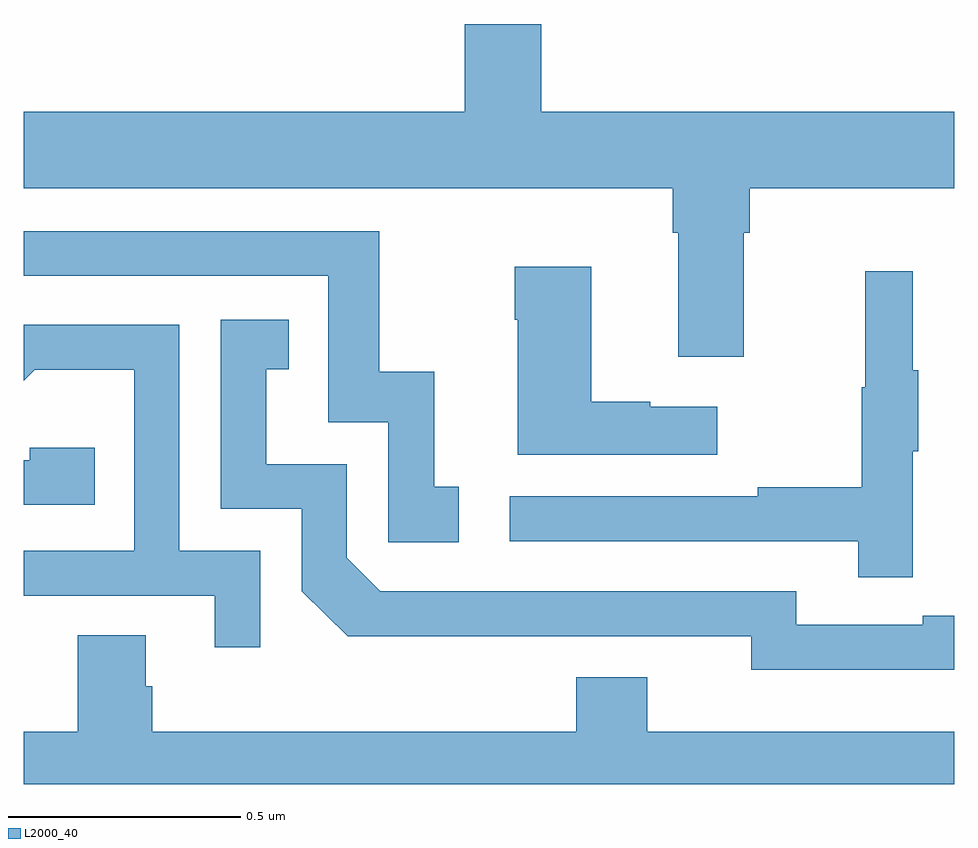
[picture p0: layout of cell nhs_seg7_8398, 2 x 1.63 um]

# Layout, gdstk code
import gdstk
lib = gdstk.Library(unit=1e-6, precision=1e-09)
def P(c, l, *ps):  # polygons
    for p in ps: c.add(gdstk.Polygon(p, *l))
L2000_40 = (2000, 40)

nhs_seg7_8398 = lib.new_cell('nhs_seg7_8398')
P(nhs_seg7_8398, L2000_40, [(225.547,1003.184),(225.56,1003.184),(225.56,1003.28),(226,1003.28),(226,1003.444),(225.112,1003.444),(225.112,1003.633),(224.948,1003.633),(224.948,1003.444),(224,1003.444),(224,1003.28),(225.395,1003.28),(225.395,1003.184),(225.407,1003.184),(225.407,1002.918),(225.547,1002.918)],
  [(224.935,1002.639),(224.882,1002.639),(224.882,1002.886),(224.764,1002.886),(224.764,1003.188),(224,1003.188),(224,1003.092),(224.655,1003.092),(224.655,1002.777),(224.784,1002.777),(224.784,1002.519),(224.935,1002.519)],
  [(225.49,1002.811),(225.347,1002.811),(225.347,1002.821),(225.22,1002.821),(225.22,1003.111),(225.055,1003.111),(225.055,1002.998),(225.062,1002.998),(225.062,1002.707),(225.49,1002.707)],
  [(225.911,1002.715),(225.922,1002.715),(225.922,1002.889),(225.911,1002.889),(225.911,1003.102),(225.808,1003.102),(225.808,1002.852),(225.801,1002.852),(225.801,1002.638),(225.577,1002.638),(225.577,1002.618),(225.045,1002.618),(225.045,1002.522),(225.793,1002.522),(225.793,1002.444),(225.911,1002.444)],
  [(225.932,1002.246),(226,1002.246),(226,1002.362),(225.932,1002.362),(225.932,1002.342),(225.66,1002.342),(225.66,1002.414),(224.766,1002.414),(224.694,1002.486),(224.694,1002.687),(224.521,1002.687),(224.521,1002.891),(224.57,1002.891),(224.57,1002.997),(224.424,1002.997),(224.424,1002.591),(224.598,1002.591),(224.598,1002.414),(224.696,1002.317),(225.104,1002.317),(225.104,1002.318),(225.564,1002.318),(225.564,1002.245),(225.932,1002.245)],
  [(224.508,1002.501),(224.334,1002.501),(224.334,1002.987),(224,1002.987),(224,1002.866),(224.024,1002.89),(224.238,1002.89),(224.238,1002.501),(224,1002.501),(224,1002.405),(224.411,1002.405),(224.411,1002.294),(224.508,1002.294)],
  [(224.153,1002.723),(224.013,1002.723),(224.013,1002.696),(224,1002.696),(224,1002.6),(224.153,1002.6)],
  [(226,1002.112),(225.34,1002.112),(225.34,1002.229),(225.188,1002.229),(225.188,1002.112),(224.276,1002.112),(224.276,1002.21),(224.263,1002.21),(224.263,1002.32),(224.116,1002.32),(224.116,1002.112),(224,1002.112),(224,1002),(226,1002)])

lib.write_gds('nhs_seg7_8398.gds')
